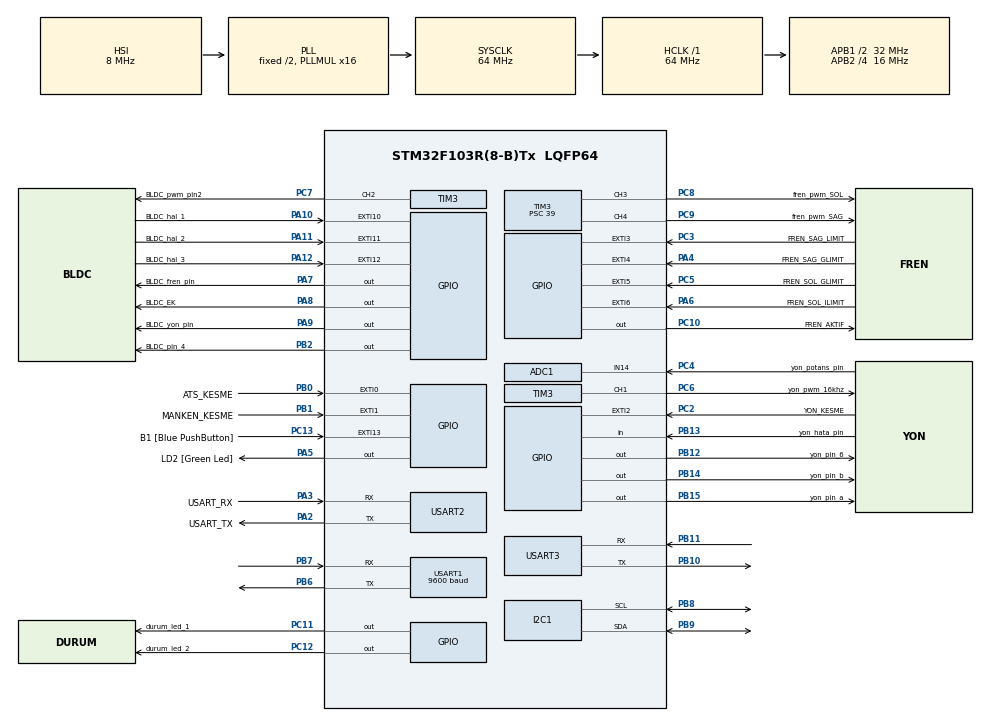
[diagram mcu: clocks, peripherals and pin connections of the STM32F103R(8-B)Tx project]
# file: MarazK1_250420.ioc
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ADC1.Channel-1\#ChannelRegularConversion=ADC_CHANNEL_14
ADC1.NbrOfConversionFlag=1
ADC1.Rank-1\#ChannelRegularConversion=1
ADC1.SamplingTime-1\#ChannelRegularConversion=ADC_SAMPLETIME_1CYCLE_5
ADC1.master=1
Mcu.Family=STM32F1
Mcu.Name=STM32F103R(8-B)Tx
Mcu.Package=LQFP64
NVIC.ADC1_2_IRQn=true\:0\:0\:false\:false\:true\:true\:true
NVIC.EXTI0_IRQn=true\:0\:0\:false\:false\:true\:true\:true
NVIC.EXTI15_10_IRQn=true\:0\:0\:false\:false\:true\:true\:true
NVIC.EXTI1_IRQn=true\:0\:0\:false\:false\:true\:true\:true
NVIC.EXTI2_IRQn=true\:0\:0\:false\:false\:true\:true\:true
NVIC.EXTI3_IRQn=true\:0\:0\:false\:false\:true\:true\:true
NVIC.EXTI4_IRQn=true\:0\:0\:false\:false\:true\:true\:true
NVIC.EXTI9_5_IRQn=true\:0\:0\:false\:false\:true\:true\:true
NVIC.I2C1_ER_IRQn=true\:0\:0\:false\:false\:true\:true\:true
NVIC.I2C1_EV_IRQn=true\:0\:0\:false\:false\:true\:true\:true
NVIC.PriorityGroup=NVIC_PRIORITYGROUP_4
NVIC.TIM1_UP_IRQn=true\:0\:0\:false\:false\:true\:true\:true
NVIC.TIM2_IRQn=true\:0\:0\:false\:false\:true\:true\:true
NVIC.TIM3_IRQn=true\:0\:0\:false\:false\:true\:true\:true
NVIC.TIM4_IRQn=true\:0\:0\:false\:false\:true\:true\:true
NVIC.USART1_IRQn=true\:0\:0\:false\:false\:true\:true\:true
NVIC.USART2_IRQn=true\:0\:0\:false\:false\:true\:true\:true
NVIC.USART3_IRQn=true\:0\:0\:false\:false\:true\:true\:true
PA10.GPIO_Label=BLDC_hal_1
PA10.Signal=GPXTI10
PA11.GPIO_Label=BLDC_hal_2
PA11.Signal=GPXTI11
PA12.GPIO_Label=BLDC_hal_3
PA12.Signal=GPXTI12
PA13.GPIO_Label=TMS
PA13.Mode=Serial_Wire
PA13.Signal=SYS_JTMS-SWDIO
PA14.GPIO_Label=TCK
PA14.Mode=Serial_Wire
PA14.Signal=SYS_JTCK-SWCLK
PA2.GPIO_Label=USART_TX
PA2.GPIO_Mode=GPIO_MODE_AF_PP
PA2.GPIO_PuPd=GPIO_NOPULL
PA2.GPIO_Speed=GPIO_SPEED_FREQ_LOW
PA2.Mode=Asynchronous
PA2.Signal=USART2_TX
PA3.GPIO_Label=USART_RX
PA3.GPIO_Mode=GPIO_MODE_AF_PP
PA3.GPIO_PuPd=GPIO_NOPULL
PA3.GPIO_Speed=GPIO_SPEED_FREQ_LOW
PA3.Mode=Asynchronous
PA3.Signal=USART2_RX
PA4.GPIO_Label=FREN_SAG_GLIMIT
PA4.GPIO_ModeDefaultEXTI=GPIO_MODE_IT_FALLING
PA4.Signal=GPXTI4
PA5.GPIO_Label=LD2 [Green Led]
PA5.GPIO_ModeDefaultOutputPP=GPIO_MODE_OUTPUT_PP
PA5.GPIO_PuPd=GPIO_NOPULL
PA5.GPIO_Speed=GPIO_SPEED_FREQ_LOW
PA5.Signal=GPIO_Output
PA6.GPIO_Label=FREN_SOL_ILIMIT
PA6.GPIO_ModeDefaultEXTI=GPIO_MODE_IT_FALLING
PA6.Signal=GPXTI6
PA7.GPIO_Label=BLDC_fren_pin
PA7.Signal=GPIO_Output
PA8.GPIO_Label=BLDC_EK
PA8.Signal=GPIO_Output
PA9.GPIO_Label=BLDC_yon_pin
PA9.Signal=GPIO_Output
PB0.GPIO_Label=ATS_KESME
PB0.Signal=GPXTI0
PB1.GPIO_Label=MANKEN_KESME
PB1.Signal=GPXTI1
PB10.Mode=Asynchronous
PB10.Signal=USART3_TX
PB11.Mode=Asynchronous
PB11.Signal=USART3_RX
PB12.GPIO_Label=yon_pin_6
PB12.Signal=GPIO_Output
PB13.GPIO_Label=yon_hata_pin
PB13.Signal=GPIO_Input
PB14.GPIO_Label=yon_pin_b
PB14.Signal=GPIO_Output
PB15.GPIO_Label=yon_pin_a
PB15.Signal=GPIO_Output
PB2.GPIO_Label=BLDC_pin_4
PB2.Signal=GPIO_Output
PB3.GPIO_Label=SWO
PB3.Signal=SYS_JTDO-TRACESWO
PB6.Mode=Asynchronous
PB6.Signal=USART1_TX
PB7.Mode=Asynchronous
PB7.Signal=USART1_RX
PB8.Mode=I2C
PB8.Signal=I2C1_SCL
PB9.Mode=I2C
PB9.Signal=I2C1_SDA
PC10.GPIO_Label=FREN_AKTIF
PC10.Signal=GPIO_Output
PC11.GPIO_Label=durum_led_1
PC11.Signal=GPIO_Output
PC12.GPIO_Label=durum_led_2
PC12.Signal=GPIO_Output
PC13-TAMPER-RTC.GPIO_Label=B1 [Blue PushButton]
PC13-TAMPER-RTC.GPIO_PuPd=GPIO_NOPULL
PC13-TAMPER-RTC.Signal=GPXTI13
PC14-OSC32_IN.Mode=LSE-External-Oscillator
PC14-OSC32_IN.Signal=RCC_OSC32_IN
PC15-OSC32_OUT.Mode=LSE-External-Oscillator
PC15-OSC32_OUT.Signal=RCC_OSC32_OUT
PC2.GPIO_Label=YON_KESME
PC2.Signal=GPXTI2
PC3.GPIO_Label=FREN_SAG_LIMIT
PC3.GPIO_ModeDefaultEXTI=GPIO_MODE_IT_FALLING
PC3.Signal=GPXTI3
PC4.GPIO_Label=yon_potans_pin
PC4.Signal=ADCx_IN14
PC5.GPIO_Label=FREN_SOL_GLIMIT
PC5.GPIO_ModeDefaultEXTI=GPIO_MODE_IT_FALLING
PC5.Signal=GPXTI5
PC6.GPIO_Label=yon_pwm_16khz
PC6.Signal=S_TIM3_CH1
PC7.GPIO_Label=BLDC_pwm_pin2
PC7.Signal=S_TIM3_CH2
PC8.GPIO_Label=fren_pwm_SOL
PC8.Signal=S_TIM3_CH3
PC9.GPIO_Label=fren_pwm_SAG
PC9.Signal=S_TIM3_CH4
PD0-OSC_IN.Mode=HSE-External-Clock-Source
PD0-OSC_IN.Signal=RCC_OSC_IN
PD1-OSC_OUT.Mode=HSE-External-Clock-Source
PD1-OSC_OUT.Signal=RCC_OSC_OUT
ProjectManager.HeapSize=0x200
ProjectManager.StackSize=0x400
ProjectManager.TargetToolchain=MDK-ARM V5.27
RCC.AHBFreq_Value=64000000
RCC.APB1CLKDivider=RCC_HCLK_DIV2
RCC.APB1Freq_Value=32000000
RCC.APB1TimFreq_Value=64000000
RCC.APB2CLKDivider=RCC_HCLK_DIV4
RCC.APB2Freq_Value=16000000
RCC.APB2TimFreq_Value=32000000
RCC.HCLKFreq_Value=64000000
RCC.PLLMUL=RCC_PLL_MUL16
RCC.RTCClockSelection=RCC_RTCCLKSOURCE_LSE
RCC.SYSCLKFreq_VALUE=64000000
RCC.SYSCLKSource=RCC_SYSCLKSOURCE_PLLCLK
RCC.USBFreq_Value=64000000
RTC.Format=RTC_FORMAT_BIN
SH.ADCx_IN14.0=ADC1_IN14,IN14
SH.S_TIM3_CH1.0=TIM3_CH1,PWM Generation1 CH1
SH.S_TIM3_CH2.0=TIM3_CH2,PWM Generation2 CH2
SH.S_TIM3_CH3.0=TIM3_CH3,PWM Generation3 CH3
SH.S_TIM3_CH4.0=TIM3_CH4,PWM Generation4 CH4
TIM1.Period=49
TIM1.Prescaler=31999
TIM2.Period=49
TIM2.Prescaler=63999
TIM3.Channel-PWM\ Generation1\ CH1=TIM_CHANNEL_1
TIM3.Channel-PWM\ Generation2\ CH2=TIM_CHANNEL_2
TIM3.Channel-PWM\ Generation3\ CH3=TIM_CHANNEL_3
TIM3.Channel-PWM\ Generation4\ CH4=TIM_CHANNEL_4
TIM3.OCFastMode_PWM-PWM\ Generation1\ CH1=TIM_OCFAST_DISABLE
TIM3.Period=100
TIM3.Prescaler=39
TIM3.Pulse-PWM\ Generation1\ CH1=178
TIM3.Pulse-PWM\ Generation3\ CH3=49
TIM4.Period=49
TIM4.Prescaler=63999
USART1.BaudRate=9600
USART1.VirtualMode=VM_ASYNC
USART2.VirtualMode=VM_ASYNC
USART3.VirtualMode=VM_ASYNC
VP_RTC_VS_RTC_Activate.Mode=RTC_Enabled
VP_TIM1_VS_ClockSourceINT.Mode=Internal
VP_TIM2_VS_ClockSourceINT.Mode=Internal
VP_TIM3_VS_ClockSourceINT.Mode=Internal
VP_TIM4_VS_ClockSourceINT.Mode=Internal
board=NUCLEO-F103RB

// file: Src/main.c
/* USER CODE BEGIN Header */
/**
  ******************************************************************************
  * @file           : main.c
  * @brief          : Main program body
  ******************************************************************************
  * @attention
  *
  * <h2><center>&copy; Copyright (c) 2020 STMicroelectronics.
  * All rights reserved.</center></h2>
  *
  * This software component is licensed by ST under BSD 3-Clause license,
  * the "License"; You may not use this file except in compliance with the
  * License. You may obtain a copy of the License at:
  *                        opensource.org/licenses/BSD-3-Clause
  *
  ******************************************************************************
  */
/* USER CODE END Header */

#include "main.h"

/* USER CODE BEGIN Includes */
#include "xbee.h"
#include "surus.h"
#include "ATS.h"
#include "surusLite.h"
/* USER CODE END Includes */

ADC_HandleTypeDef hadc1;

I2C_HandleTypeDef hi2c1;

RTC_HandleTypeDef hrtc;

TIM_HandleTypeDef htim1;
TIM_HandleTypeDef htim2;
TIM_HandleTypeDef htim3;
TIM_HandleTypeDef htim4;

UART_HandleTypeDef huart1;
UART_HandleTypeDef huart2;
UART_HandleTypeDef huart3;

void SystemClock_Config(void);
static void MX_GPIO_Init(void);
static void MX_I2C1_Init(void);
static void MX_USART1_UART_Init(void);
static void MX_USART2_UART_Init(void);
static void MX_USART3_UART_Init(void);
static void MX_ADC1_Init(void);
static void MX_RTC_Init(void);
static void MX_TIM1_Init(void);
static void MX_TIM3_Init(void);
static void MX_TIM2_Init(void);
static void MX_TIM4_Init(void);
/* USER CODE BEGIN PFP */
static void adc_kur(void);
static void rtc_kur(void);
static void tim3_pwm_kur(void);
static void tim2_pwm_kur(void);
static void tim4_kur(void);
static void tim1_kur(void);
/* USER CODE END PFP */

/* USER CODE BEGIN 0 */
unsigned char aaas=0;
/* USER CODE END 0 */

int main(void)
{
  /* USER CODE BEGIN 1 */
	rtc_kur();
  /* USER CODE END 1 */

  /* MCU Configuration--------------------------------------------------------*/

  /* Reset of all peripherals, Initializes the Flash interface and the Systick. */
  HAL_Init();

  /* Configure the system clock */
  SystemClock_Config();

  /* Initialize all configured peripherals */
  MX_GPIO_Init();
  MX_I2C1_Init();
  MX_USART1_UART_Init();
  MX_USART2_UART_Init();
  MX_USART3_UART_Init();
  MX_ADC1_Init();
  MX_RTC_Init();
  MX_TIM1_Init();
  MX_TIM3_Init();
  MX_TIM2_Init();
  MX_TIM4_Init();
  /* USER CODE BEGIN 2 */
	tim3_pwm_kur();
	tim2_pwm_kur();
	tim4_kur();
	tim1_kur();
	direksiyon_kur();
	adc_kur();

	AtsMkninit();
  /* USER CODE END 2 */
  /* Infinite loop */
  /* USER CODE BEGIN WHILE */
	//direksiyon_kur();
	xbee_veri_tamponu[2]=direksiyon_istenilen/16;
	//HAL_GPIO_WritePin(FREN_AKTIF_GPIO_Port,FREN_AKTIF_Pin,1);
	if((I2C1->SR2&0x0002)==1)
	{
		__nop();//I2C1->CR1|=0x8000;
	}

  while (1)
  {

		if(xbee())
		{
			surusLite(&xbee_veri_tamponu[1]);
			xbee_tx_tamponu[0]++;

			xbee_tx_tamponu[0]=sayacGet();
			//ATS_SAYAC_RESET();
			if(sayacReset(xbee_veri_tamponu[4]))
			{
				xbee_tx_tamponu[0]=251;
			}

			//ATS_ESIK_SET

			if(esikSetleme(xbee_veri_tamponu[4],xbee_veri_tamponu[3])){
				xbee_tx_tamponu[0]=252;
			}

			xbee_gonder(xbee_tx_tamponu,1);
		}
		else{
			degisken=4;
		}
    /* USER CODE END WHILE */

    /* USER CODE BEGIN 3 */
		/*if(yeni_paket_var==1)
		{
			if(surus(&xbee_veri_tamponu[1]))
			{
				*(xbee_tx_tamponu+1)=251;
			}
			else
			{
				degisken=bldc_motor_durdur();
			}
			yeni_paket_var=0;
		}*/
  }
  /* USER CODE END 3 */
}

void SystemClock_Config(void)
{
  RCC_OscInitTypeDef RCC_OscInitStruct = {0};
  RCC_ClkInitTypeDef RCC_ClkInitStruct = {0};
  RCC_PeriphCLKInitTypeDef PeriphClkInit = {0};

  /** Initializes the CPU, AHB and APB busses clocks
  */
  RCC_OscInitStruct.OscillatorType = RCC_OSCILLATORTYPE_HSI|RCC_OSCILLATORTYPE_LSE;
  RCC_OscInitStruct.LSEState = RCC_LSE_ON;
  RCC_OscInitStruct.HSIState = RCC_HSI_ON;
  RCC_OscInitStruct.HSICalibrationValue = RCC_HSICALIBRATION_DEFAULT;
  RCC_OscInitStruct.PLL.PLLState = RCC_PLL_ON;
  RCC_OscInitStruct.PLL.PLLSource = RCC_PLLSOURCE_HSI_DIV2;
  RCC_OscInitStruct.PLL.PLLMUL = RCC_PLL_MUL16;
  if (HAL_RCC_OscConfig(&RCC_OscInitStruct) != HAL_OK)
  {
    Error_Handler();
  }
  /** Initializes the CPU, AHB and APB busses clocks
  */
  RCC_ClkInitStruct.ClockType = RCC_CLOCKTYPE_HCLK|RCC_CLOCKTYPE_SYSCLK
                              |RCC_CLOCKTYPE_PCLK1|RCC_CLOCKTYPE_PCLK2;
  RCC_ClkInitStruct.SYSCLKSource = RCC_SYSCLKSOURCE_PLLCLK;
  RCC_ClkInitStruct.AHBCLKDivider = RCC_SYSCLK_DIV1;
  RCC_ClkInitStruct.APB1CLKDivider = RCC_HCLK_DIV2;
  RCC_ClkInitStruct.APB2CLKDivider = RCC_HCLK_DIV4;

  if (HAL_RCC_ClockConfig(&RCC_ClkInitStruct, FLASH_LATENCY_2) != HAL_OK)
  {
    Error_Handler();
  }
  PeriphClkInit.PeriphClockSelection = RCC_PERIPHCLK_RTC|RCC_PERIPHCLK_ADC;
  PeriphClkInit.RTCClockSelection = RCC_RTCCLKSOURCE_LSE;
  PeriphClkInit.AdcClockSelection = RCC_ADCPCLK2_DIV2;
  if (HAL_RCCEx_PeriphCLKConfig(&PeriphClkInit) != HAL_OK)
  {
    Error_Handler();
  }
}

static void MX_ADC1_Init(void)
{

  ADC_ChannelConfTypeDef sConfig = {0};

  /** Common config
  */
  hadc1.Instance = ADC1;
  hadc1.Init.ScanConvMode = ADC_SCAN_DISABLE;
  hadc1.Init.ContinuousConvMode = DISABLE;
  hadc1.Init.DiscontinuousConvMode = DISABLE;
  hadc1.Init.ExternalTrigConv = ADC_SOFTWARE_START;
  hadc1.Init.DataAlign = ADC_DATAALIGN_RIGHT;
  hadc1.Init.NbrOfConversion = 1;
  if (HAL_ADC_Init(&hadc1) != HAL_OK)
  {
    Error_Handler();
  }
  /** Configure Regular Channel
  */
  sConfig.Channel = ADC_CHANNEL_14;
  sConfig.Rank = ADC_REGULAR_RANK_1;
  sConfig.SamplingTime = ADC_SAMPLETIME_1CYCLE_5;
  if (HAL_ADC_ConfigChannel(&hadc1, &sConfig) != HAL_OK)
  {
    Error_Handler();
  }

}

static void MX_I2C1_Init(void)
{

  hi2c1.Instance = I2C1;
  hi2c1.Init.ClockSpeed = 100000;
  hi2c1.Init.DutyCycle = I2C_DUTYCYCLE_2;
  hi2c1.Init.OwnAddress1 = 0;
  hi2c1.Init.AddressingMode = I2C_ADDRESSINGMODE_7BIT;
  hi2c1.Init.DualAddressMode = I2C_DUALADDRESS_DISABLE;
  hi2c1.Init.OwnAddress2 = 0;
  hi2c1.Init.GeneralCallMode = I2C_GENERALCALL_DISABLE;
  hi2c1.Init.NoStretchMode = I2C_NOSTRETCH_DISABLE;
  if (HAL_I2C_Init(&hi2c1) != HAL_OK)
  {
    Error_Handler();
  }

}

static void MX_RTC_Init(void)
{

  /** Initialize RTC Only
  */
  hrtc.Instance = RTC;
  hrtc.Init.AsynchPrediv = RTC_AUTO_1_SECOND;
  hrtc.Init.OutPut = RTC_OUTPUTSOURCE_ALARM;
  if (HAL_RTC_Init(&hrtc) != HAL_OK)
  {
    Error_Handler();
  }

}

static void MX_TIM1_Init(void)
{

  TIM_ClockConfigTypeDef sClockSourceConfig = {0};
  TIM_MasterConfigTypeDef sMasterConfig = {0};

  htim1.Instance = TIM1;
  htim1.Init.Prescaler = 31999;
  htim1.Init.CounterMode = TIM_COUNTERMODE_UP;
  htim1.Init.Period = 49;
  htim1.Init.ClockDivision = TIM_CLOCKDIVISION_DIV1;
  htim1.Init.RepetitionCounter = 0;
  htim1.Init.AutoReloadPreload = TIM_AUTORELOAD_PRELOAD_DISABLE;
  if (HAL_TIM_Base_Init(&htim1) != HAL_OK)
  {
    Error_Handler();
  }
  sClockSourceConfig.ClockSource = TIM_CLOCKSOURCE_INTERNAL;
  if (HAL_TIM_ConfigClockSource(&htim1, &sClockSourceConfig) != HAL_OK)
  {
    Error_Handler();
  }
  sMasterConfig.MasterOutputTrigger = TIM_TRGO_RESET;
  sMasterConfig.MasterSlaveMode = TIM_MASTERSLAVEMODE_DISABLE;
  if (HAL_TIMEx_MasterConfigSynchronization(&htim1, &sMasterConfig) != HAL_OK)
  {
    Error_Handler();
  }

}

static void MX_TIM2_Init(void)
{

  TIM_ClockConfigTypeDef sClockSourceConfig = {0};
  TIM_MasterConfigTypeDef sMasterConfig = {0};

  htim2.Instance = TIM2;
  htim2.Init.Prescaler = 63999;
  htim2.Init.CounterMode = TIM_COUNTERMODE_UP;
  htim2.Init.Period = 49;
  htim2.Init.ClockDivision = TIM_CLOCKDIVISION_DIV1;
  htim2.Init.AutoReloadPreload = TIM_AUTORELOAD_PRELOAD_DISABLE;
  if (HAL_TIM_Base_Init(&htim2) != HAL_OK)
  {
    Error_Handler();
  }
  sClockSourceConfig.ClockSource = TIM_CLOCKSOURCE_INTERNAL;
  if (HAL_TIM_ConfigClockSource(&htim2, &sClockSourceConfig) != HAL_OK)
  {
    Error_Handler();
  }
  sMasterConfig.MasterOutputTrigger = TIM_TRGO_RESET;
  sMasterConfig.MasterSlaveMode = TIM_MASTERSLAVEMODE_DISABLE;
  if (HAL_TIMEx_MasterConfigSynchronization(&htim2, &sMasterConfig) != HAL_OK)
  {
    Error_Handler();
  }

}

static void MX_TIM3_Init(void)
{

  TIM_ClockConfigTypeDef sClockSourceConfig = {0};
  TIM_MasterConfigTypeDef sMasterConfig = {0};
  TIM_OC_InitTypeDef sConfigOC = {0};

  htim3.Instance = TIM3;
  htim3.Init.Prescaler = 39;
  htim3.Init.CounterMode = TIM_COUNTERMODE_UP;
  htim3.Init.Period = 100;
  htim3.Init.ClockDivision = TIM_CLOCKDIVISION_DIV1;
  htim3.Init.AutoReloadPreload = TIM_AUTORELOAD_PRELOAD_DISABLE;
  if (HAL_TIM_Base_Init(&htim3) != HAL_OK)
  {
    Error_Handler();
  }
  sClockSourceConfig.ClockSource = TIM_CLOCKSOURCE_INTERNAL;
  if (HAL_TIM_ConfigClockSource(&htim3, &sClockSourceConfig) != HAL_OK)
  {
    Error_Handler();
  }
  if (HAL_TIM_PWM_Init(&htim3) != HAL_OK)
  {
    Error_Handler();
  }
  sMasterConfig.MasterOutputTrigger = TIM_TRGO_RESET;
  sMasterConfig.MasterSlaveMode = TIM_MASTERSLAVEMODE_DISABLE;
  if (HAL_TIMEx_MasterConfigSynchronization(&htim3, &sMasterConfig) != HAL_OK)
  {
    Error_Handler();
  }
  sConfigOC.OCMode = TIM_OCMODE_PWM1;
  sConfigOC.Pulse = 178;
  sConfigOC.OCPolarity = TIM_OCPOLARITY_HIGH;
  sConfigOC.OCFastMode = TIM_OCFAST_DISABLE;
  if (HAL_TIM_PWM_ConfigChannel(&htim3, &sConfigOC, TIM_CHANNEL_1) != HAL_OK)
  {
    Error_Handler();
  }
  sConfigOC.Pulse = 0;
  if (HAL_TIM_PWM_ConfigChannel(&htim3, &sConfigOC, TIM_CHANNEL_2) != HAL_OK)
  {
    Error_Handler();
  }
  sConfigOC.Pulse = 49;
  if (HAL_TIM_PWM_ConfigChannel(&htim3, &sConfigOC, TIM_CHANNEL_3) != HAL_OK)
  {
    Error_Handler();
  }
  sConfigOC.Pulse = 0;
  if (HAL_TIM_PWM_ConfigChannel(&htim3, &sConfigOC, TIM_CHANNEL_4) != HAL_OK)
  {
    Error_Handler();
  }
  HAL_TIM_MspPostInit(&htim3);

}

static void MX_TIM4_Init(void)
{

  TIM_ClockConfigTypeDef sClockSourceConfig = {0};
  TIM_MasterConfigTypeDef sMasterConfig = {0};

  htim4.Instance = TIM4;
  htim4.Init.Prescaler = 63999;
  htim4.Init.CounterMode = TIM_COUNTERMODE_UP;
  htim4.Init.Period = 49;
  htim4.Init.ClockDivision = TIM_CLOCKDIVISION_DIV1;
  htim4.Init.AutoReloadPreload = TIM_AUTORELOAD_PRELOAD_DISABLE;
  if (HAL_TIM_Base_Init(&htim4) != HAL_OK)
  {
    Error_Handler();
  }
  sClockSourceConfig.ClockSource = TIM_CLOCKSOURCE_INTERNAL;
  if (HAL_TIM_ConfigClockSource(&htim4, &sClockSourceConfig) != HAL_OK)
  {
    Error_Handler();
  }
  sMasterConfig.MasterOutputTrigger = TIM_TRGO_RESET;
  sMasterConfig.MasterSlaveMode = TIM_MASTERSLAVEMODE_DISABLE;
  if (HAL_TIMEx_MasterConfigSynchronization(&htim4, &sMasterConfig) != HAL_OK)
  {
    Error_Handler();
  }

}

static void MX_USART1_UART_Init(void)
{

  huart1.Instance = USART1;
  huart1.Init.BaudRate = 9600;
  huart1.Init.WordLength = UART_WORDLENGTH_8B;
  huart1.Init.StopBits = UART_STOPBITS_1;
  huart1.Init.Parity = UART_PARITY_NONE;
  huart1.Init.Mode = UART_MODE_TX_RX;
  huart1.Init.HwFlowCtl = UART_HWCONTROL_NONE;
  huart1.Init.OverSampling = UART_OVERSAMPLING_16;
  if (HAL_UART_Init(&huart1) != HAL_OK)
  {
    Error_Handler();
  }

}

static void MX_USART2_UART_Init(void)
{

  huart2.Instance = USART2;
  huart2.Init.BaudRate = 115200;
  huart2.Init.WordLength = UART_WORDLENGTH_8B;
  huart2.Init.StopBits = UART_STOPBITS_1;
  huart2.Init.Parity = UART_PARITY_NONE;
  huart2.Init.Mode = UART_MODE_TX_RX;
  huart2.Init.HwFlowCtl = UART_HWCONTROL_NONE;
  huart2.Init.OverSampling = UART_OVERSAMPLING_16;
  if (HAL_UART_Init(&huart2) != HAL_OK)
  {
    Error_Handler();
  }

}

static void MX_USART3_UART_Init(void)
{

  huart3.Instance = USART3;
  huart3.Init.BaudRate = 115200;
  huart3.Init.WordLength = UART_WORDLENGTH_8B;
  huart3.Init.StopBits = UART_STOPBITS_1;
  huart3.Init.Parity = UART_PARITY_NONE;
  huart3.Init.Mode = UART_MODE_TX_RX;
  huart3.Init.HwFlowCtl = UART_HWCONTROL_NONE;
  huart3.Init.OverSampling = UART_OVERSAMPLING_16;
  if (HAL_UART_Init(&huart3) != HAL_OK)
  {
    Error_Handler();
  }

}

static void MX_GPIO_Init(void)
{
  GPIO_InitTypeDef GPIO_InitStruct = {0};

  /* GPIO Ports Clock Enable */
  __HAL_RCC_GPIOC_CLK_ENABLE();
  __HAL_RCC_GPIOD_CLK_ENABLE();
  __HAL_RCC_GPIOA_CLK_ENABLE();
  __HAL_RCC_GPIOB_CLK_ENABLE();

  /*Configure GPIO pin Output Level */
  HAL_GPIO_WritePin(GPIOA, LD2_Pin|BLDC_fren_pin_Pin|BLDC_EK_Pin|BLDC_yon_pin_Pin, GPIO_PIN_RESET);

  /*Configure GPIO pin Output Level */
  HAL_GPIO_WritePin(GPIOB, BLDC_pin_4_Pin|yon_pin_6_Pin|yon_pin_b_Pin|yon_pin_a_Pin, GPIO_PIN_RESET);

  /*Configure GPIO pin Output Level */
  HAL_GPIO_WritePin(GPIOC, FREN_AKTIF_Pin|durum_led_1_Pin|durum_led_2_Pin, GPIO_PIN_RESET);

  /*Configure GPIO pins : B1_Pin YON_KESME_Pin */
  GPIO_InitStruct.Pin = B1_Pin|YON_KESME_Pin;
  GPIO_InitStruct.Mode = GPIO_MODE_IT_RISING;
  GPIO_InitStruct.Pull = GPIO_NOPULL;
  HAL_GPIO_Init(GPIOC, &GPIO_InitStruct);

  /*Configure GPIO pins : FREN_SAG_LIMIT_Pin FREN_SOL_GLIMIT_Pin */
  GPIO_InitStruct.Pin = FREN_SAG_LIMIT_Pin|FREN_SOL_GLIMIT_Pin;
  GPIO_InitStruct.Mode = GPIO_MODE_IT_FALLING;
  GPIO_InitStruct.Pull = GPIO_NOPULL;
  HAL_GPIO_Init(GPIOC, &GPIO_InitStruct);

  /*Configure GPIO pins : FREN_SAG_GLIMIT_Pin FREN_SOL_ILIMIT_Pin */
  GPIO_InitStruct.Pin = FREN_SAG_GLIMIT_Pin|FREN_SOL_ILIMIT_Pin;
  GPIO_InitStruct.Mode = GPIO_MODE_IT_FALLING;
  GPIO_InitStruct.Pull = GPIO_NOPULL;
  HAL_GPIO_Init(GPIOA, &GPIO_InitStruct);

  /*Configure GPIO pins : LD2_Pin BLDC_fren_pin_Pin BLDC_EK_Pin BLDC_yon_pin_Pin */
  GPIO_InitStruct.Pin = LD2_Pin|BLDC_fren_pin_Pin|BLDC_EK_Pin|BLDC_yon_pin_Pin;
  GPIO_InitStruct.Mode = GPIO_MODE_OUTPUT_PP;
  GPIO_InitStruct.Pull = GPIO_NOPULL;
  GPIO_InitStruct.Speed = GPIO_SPEED_FREQ_LOW;
  HAL_GPIO_Init(GPIOA, &GPIO_InitStruct);

  /*Configure GPIO pins : ATS_KESME_Pin MANKEN_KESME_Pin */
  GPIO_InitStruct.Pin = ATS_KESME_Pin|MANKEN_KESME_Pin;
  GPIO_InitStruct.Mode = GPIO_MODE_IT_RISING;
  GPIO_InitStruct.Pull = GPIO_NOPULL;
  HAL_GPIO_Init(GPIOB, &GPIO_InitStruct);

  /*Configure GPIO pins : BLDC_pin_4_Pin yon_pin_6_Pin yon_pin_b_Pin yon_pin_a_Pin */
  GPIO_InitStruct.Pin = BLDC_pin_4_Pin|yon_pin_6_Pin|yon_pin_b_Pin|yon_pin_a_Pin;
  GPIO_InitStruct.Mode = GPIO_MODE_OUTPUT_PP;
  GPIO_InitStruct.Pull = GPIO_NOPULL;
  GPIO_InitStruct.Speed = GPIO_SPEED_FREQ_LOW;
  HAL_GPIO_Init(GPIOB, &GPIO_InitStruct);

  /*Configure GPIO pin : yon_hata_pin_Pin */
  GPIO_InitStruct.Pin = yon_hata_pin_Pin;
  GPIO_InitStruct.Mode = GPIO_MODE_INPUT;
  GPIO_InitStruct.Pull = GPIO_NOPULL;
  HAL_GPIO_Init(yon_hata_pin_GPIO_Port, &GPIO_InitStruct);

  /*Configure GPIO pins : BLDC_hal_1_Pin BLDC_hal_2_Pin BLDC_hal_3_Pin */
  GPIO_InitStruct.Pin = BLDC_hal_1_Pin|BLDC_hal_2_Pin|BLDC_hal_3_Pin;
  GPIO_InitStruct.Mode = GPIO_MODE_IT_RISING;
  GPIO_InitStruct.Pull = GPIO_NOPULL;
  HAL_GPIO_Init(GPIOA, &GPIO_InitStruct);

  /*Configure GPIO pins : FREN_AKTIF_Pin durum_led_1_Pin durum_led_2_Pin */
  GPIO_InitStruct.Pin = FREN_AKTIF_Pin|durum_led_1_Pin|durum_led_2_Pin;
  GPIO_InitStruct.Mode = GPIO_MODE_OUTPUT_PP;
  GPIO_InitStruct.Pull = GPIO_NOPULL;
  GPIO_InitStruct.Speed = GPIO_SPEED_FREQ_LOW;
  HAL_GPIO_Init(GPIOC, &GPIO_InitStruct);

  /* EXTI interrupt init*/
  HAL_NVIC_SetPriority(EXTI0_IRQn, 0, 0);
  HAL_NVIC_EnableIRQ(EXTI0_IRQn);

  HAL_NVIC_SetPriority(EXTI1_IRQn, 0, 0);
  HAL_NVIC_EnableIRQ(EXTI1_IRQn);

  HAL_NVIC_SetPriority(EXTI2_IRQn, 0, 0);
  HAL_NVIC_EnableIRQ(EXTI2_IRQn);

  HAL_NVIC_SetPriority(EXTI3_IRQn, 0, 0);
  HAL_NVIC_EnableIRQ(EXTI3_IRQn);

  HAL_NVIC_SetPriority(EXTI4_IRQn, 0, 0);
  HAL_NVIC_EnableIRQ(EXTI4_IRQn);

  HAL_NVIC_SetPriority(EXTI9_5_IRQn, 0, 0);
  HAL_NVIC_EnableIRQ(EXTI9_5_IRQn);

  HAL_NVIC_SetPriority(EXTI15_10_IRQn, 0, 0);
  HAL_NVIC_EnableIRQ(EXTI15_10_IRQn);

}

/* USER CODE BEGIN 4 */
static void adc_kur(void)
{
	ADC1->CR1|=0x20;//eoc(dönüsüm tamamlanma) interrupt aç
	//ADC1->CR2|=0x600000;
	ADC1->CR2|=0x01;//adc on(adc acma)
	ADC1->CR2|=0x01;//adc start(1. bit 1 iken 1 atanirsa adc dönüsüm yapmaya baslar)
}
static void rtc_kur(void)
{
	//RTC clok ön ölçekleme
	RTC->PRLL=31;//div=prll>>cnt++
	RTC->CRL |= 0x10;//RTC konfiguraston aktif ayari
	RTC->PRLL=0x8000;//PRLL reset degeri
	RTC->PRLL=0x07;//RTC_periyot;//RTC_CLK önölçekleme ayari 32768/(PRLL+1)>> PRLL=32, CNT_L sayici periyodu ~1milisaniye
	//PRLL=31 için CNTL'her 1024 degeri 1saniyedir.
	RTC->CRL &= 0xEF;
}
static void tim3_pwm_kur(void)
{
	//timer 3 16khz ayarlandi
	TIM3->EGR|=1;//timer event üretiminde registerinde, güncelleme event üretimini aktif etme, pwm sinyalini üretebilmek için
	TIM3->CCER|=1; // yakalama/karsilastirma aktifligi, timer'in 1. kanali açma
	TIM3->CCER|=16; // yakalama/karsilastirma aktifligi, timer'in 2. kanali açma
	TIM3->CCER|=256; // yakalama/karsilastirma aktifligi, timer'in 3. kanali açma
	TIM3->CCER|=4096; // yakalama/karsilastirma aktifligi, timer'in 4. kanali açma
	TIM3->CR1=0x81;//timer1 start
	TIM3->DIER=0x1;//kesme aktiflik ayarlari
	TIM3->CCR1=0;//max 100, ARR=100
	TIM3->CCR2=0;//max 100, ARR=100
	TIM3->CCR3=32;//max 100, ARR=100 +-28
	TIM3->CCR4=32;//max 100, ARR=100 +-28

}
static void tim2_pwm_kur(void)
{
	//full "1" için CCRx>ARRx, CCRx=0 için full "0" verir
	//timer 2 100hz ayarlandi
	TIM2->EGR|=1;//timer pwm üretim güncellemesi açma//tam anlamdim ne ise yaradigini
	TIM2->CCER|=1; // yakalama/karsilastirma aktifligi, timer'in 1. kanali açma
	TIM2->CR1=0x81;//timer1 start
	TIM2->DIER=0x1;//kesme aktiflik ayarlari
	TIM2->CCR1=0;//1.kanal karsilastirma saklayicisi, max 201, ARR=200
}
static void tim4_kur(void)
{
	TIM4->CR1=0x1;//timer4 start, 1. bit timer aktiflik biti
	TIM4->DIER=0x1;//kesme aktiflik ayarlari
}
static void tim1_kur(void)
{
	TIM1->CR1=0x1;//timer1 start
	TIM1->DIER=0x1;//kesme aktiflik ayarlari
}
/* USER CODE END 4 */

void Error_Handler(void)
{
}

/************************ (C) COPYRIGHT STMicroelectronics *****END OF FILE****/
